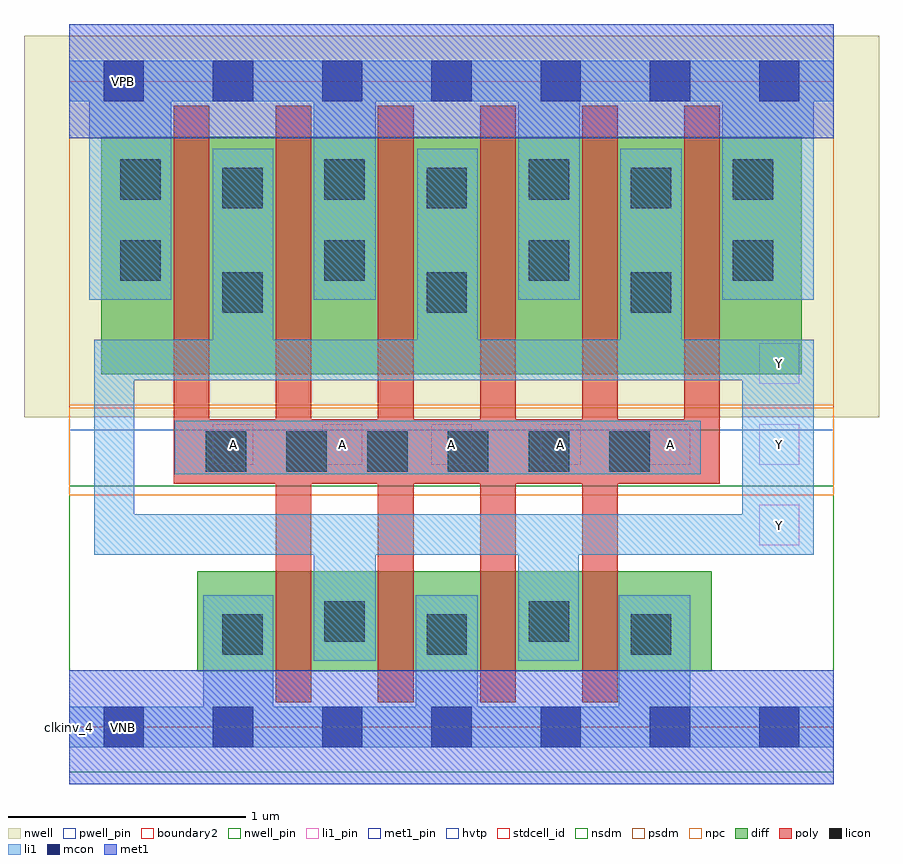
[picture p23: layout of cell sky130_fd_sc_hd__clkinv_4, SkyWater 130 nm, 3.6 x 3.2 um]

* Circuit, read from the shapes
.subckt sky130_fd_sc_hd__clkinv_4 A VGND VNB VPB VPWR Y
XM1 Y A VGND VNB sky130_fd_pr__nfet_01v8 w=0.42 l=0.15 m=4
XM2 Y A VPWR VPB sky130_fd_pr__pfet_01v8_hvt w=1 l=0.15 m=6
.ends

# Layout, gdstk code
import gdstk
lib = gdstk.Library(unit=1e-6, precision=1e-09)
def R(c, l, rs):  # rectangles x0, y0, x1, y1
    for r in rs: c.add(gdstk.rectangle(r[:2], r[2:], *l))
def A(c, l, x, y, w, h, nx, ny, dx, dy):  # array of equal rectangles
    R(c, l, [(x+i*dx, y+j*dy, x+i*dx+w, y+j*dy+h) for i in range(nx) for j in range(ny)])
def P(c, l, *ps):  # polygons
    for p in ps: c.add(gdstk.Polygon(p, *l))
nwell_pin = (64, 16)
nwell = (64, 20)
diff = (65, 20)
poly = (66, 20)
licon = (66, 44)
li1_pin = (67, 16)
li1 = (67, 20)
mcon = (67, 44)
met1_pin = (68, 16)
met1 = (68, 20)
hvtp = (78, 44)
stdcell_id = (81, 4)
nsdm = (93, 44)
psdm = (94, 20)
npc = (95, 20)
pwell_pin = (122, 16)
boundary2 = (236, 0)

sky130_fd_sc_hd__clkinv_ = lib.new_cell('sky130_fd_sc_hd__clkinv_4')
R(sky130_fd_sc_hd__clkinv_, nwell_pin, [(0.145,2.635,0.315,2.805)])
R(sky130_fd_sc_hd__clkinv_, nwell, [(-0.19,1.305,3.41,2.91)])
R(sky130_fd_sc_hd__clkinv_, diff, [(0.54,0.235,2.705,0.655), (0.135,1.485,3.085,2.485)])
P(sky130_fd_sc_hd__clkinv_, poly, [(2.74,2.615),(2.59,2.615),(2.59,1.295),(2.31,1.295),(2.31,2.615),(2.16,2.615),(2.16,1.295),(1.88,1.295),(1.88,2.615),(1.73,2.615),(1.73,1.295),(1.45,1.295),(1.45,2.615),(1.3,2.615),(1.3,1.295),(1.02,1.295),(1.02,2.615),(0.87,2.615),(0.87,1.295),(0.59,1.295),(0.59,2.615),(0.44,2.615),(0.44,1.025),(0.87,1.025),(0.87,0.105),(1.02,0.105),(1.02,1.025),(1.3,1.025),(1.3,0.105),(1.45,0.105),(1.45,1.025),(1.73,1.025),(1.73,0.105),(1.88,0.105),(1.88,1.025),(2.16,1.025),(2.16,0.105),(2.31,0.105),(2.31,1.025),(2.74,1.025)])
A(sky130_fd_sc_hd__clkinv_, licon, 0.645, 0.305, 0.17, 0.17, 3, 2, 0.86, 1.44)
A(sky130_fd_sc_hd__clkinv_, licon, 0.575, 1.075, 0.17, 0.17, 6, 1, 0.34, 0)
A(sky130_fd_sc_hd__clkinv_, licon, 0.215, 1.88, 0.17, 0.17, 4, 2, 0.86, 0.34)
A(sky130_fd_sc_hd__clkinv_, licon, 0.645, 2.185, 0.17, 0.17, 3, 1, 0.86, 0)
R(sky130_fd_sc_hd__clkinv_, licon, [(1.075,0.36,1.245,0.53), (1.935,0.36,2.105,0.53)])
A(sky130_fd_sc_hd__clkinv_, li1_pin, 0.605, 1.105, 0.17, 0.17, 6, 1, 0.46, 0)
R(sky130_fd_sc_hd__clkinv_, li1_pin, [(2.905,0.765,3.075,0.935), (2.905,1.445,3.075,1.615)])
R(sky130_fd_sc_hd__clkinv_, li1, [(0.445,1.065,2.66,1.29)])
P(sky130_fd_sc_hd__clkinv_, li1, [(3.22,0.085),(2.615,0.085),(2.615,0.555),(2.315,0.555),(2.315,0.085),(1.72,0.085),(1.72,0.555),(1.46,0.555),(1.46,0.085),(0.86,0.085),(0.86,0.555),(0.565,0.555),(0.565,0.085),(0,0.085),(0,-0.085),(3.22,-0.085)],
  [(3.22,2.805),(0,2.805),(0,2.635),(0.085,2.635),(0.085,1.8),(0.43,1.8),(0.43,2.635),(1.03,2.635),(1.03,1.8),(1.29,1.8),(1.29,2.635),(1.89,2.635),(1.89,1.8),(2.15,1.8),(2.15,2.635),(2.75,2.635),(2.75,1.8),(3.135,1.8),(3.135,2.635),(3.22,2.635)],
  [(3.135,1.63),(2.835,1.63),(2.835,0.895),(0.275,0.895),(0.275,1.46),(2.835,1.46),(2.835,1.63),(2.58,1.63),(2.58,2.435),(2.32,2.435),(2.32,1.63),(1.72,1.63),(1.72,2.435),(1.465,2.435),(1.465,1.63),(0.86,1.63),(0.86,2.435),(0.605,2.435),(0.605,1.63),(0.105,1.63),(0.105,0.725),(1.03,0.725),(1.03,0.28),(1.29,0.28),(1.29,0.725),(1.89,0.725),(1.89,0.28),(2.145,0.28),(2.145,0.725),(3.135,0.725)])
A(sky130_fd_sc_hd__clkinv_, mcon, 0.145, -0.085, 0.17, 0.17, 7, 2, 0.46, 2.72)
R(sky130_fd_sc_hd__clkinv_, met1_pin, [(0.145,-0.085,0.315,0.085), (0.145,2.635,0.315,2.805)])
R(sky130_fd_sc_hd__clkinv_, hvtp, [(0,1.25,3.22,2.72)])
R(sky130_fd_sc_hd__clkinv_, stdcell_id, [(0,0,3.22,2.72)])
R(sky130_fd_sc_hd__clkinv_, nsdm, [(0,-0.19,3.22,1.015)])
R(sky130_fd_sc_hd__clkinv_, psdm, [(0,1.355,3.22,2.91)])
R(sky130_fd_sc_hd__clkinv_, npc, [(0,0.975,3.22,1.345)])
R(sky130_fd_sc_hd__clkinv_, pwell_pin, [(0.145,-0.085,0.315,0.085)])
R(sky130_fd_sc_hd__clkinv_, boundary2, [(0,0,3.22,2.72)])
sky130_fd_sc_hd__clkinv_.add(gdstk.FlexPath([(0,2.72),(3.22,2.72)], 0.48, ends="flush", simple_path=True, layer=68, datatype=20))  # met1
sky130_fd_sc_hd__clkinv_.add(gdstk.FlexPath([(0,0),(3.22,0)], 0.48, ends="flush", simple_path=True, layer=68, datatype=20))  # met1
sky130_fd_sc_hd__clkinv_.add(gdstk.Label('A', (1.15,1.19), layer=67, texttype=5))
sky130_fd_sc_hd__clkinv_.add(gdstk.Label('A', (1.61,1.19), layer=67, texttype=5))
sky130_fd_sc_hd__clkinv_.add(gdstk.Label('Y', (2.99,0.85), layer=67, texttype=5))
sky130_fd_sc_hd__clkinv_.add(gdstk.Label('A', (0.69,1.19), layer=67, texttype=5))
sky130_fd_sc_hd__clkinv_.add(gdstk.Label('Y', (2.99,1.53), layer=67, texttype=5))
sky130_fd_sc_hd__clkinv_.add(gdstk.Label('A', (2.53,1.19), layer=67, texttype=5))
sky130_fd_sc_hd__clkinv_.add(gdstk.Label('A', (2.07,1.19), layer=67, texttype=5))
sky130_fd_sc_hd__clkinv_.add(gdstk.Label('Y', (2.99,1.19), layer=67, texttype=5))
sky130_fd_sc_hd__clkinv_.add(gdstk.Label('VNB', (0.23,0), layer=64, texttype=59))
sky130_fd_sc_hd__clkinv_.add(gdstk.Label('VPB', (0.23,2.72), layer=64, texttype=5))
sky130_fd_sc_hd__clkinv_.add(gdstk.Label('VPWR', (0.23,2.72), layer=68, texttype=5))
sky130_fd_sc_hd__clkinv_.add(gdstk.Label('VGND', (0.23,0), layer=68, texttype=5))
sky130_fd_sc_hd__clkinv_.add(gdstk.Label('clkinv_4', (0,0), layer=83, texttype=44))

lib.write_gds('sky130_fd_sc_hd__clkinv_4.gds')
